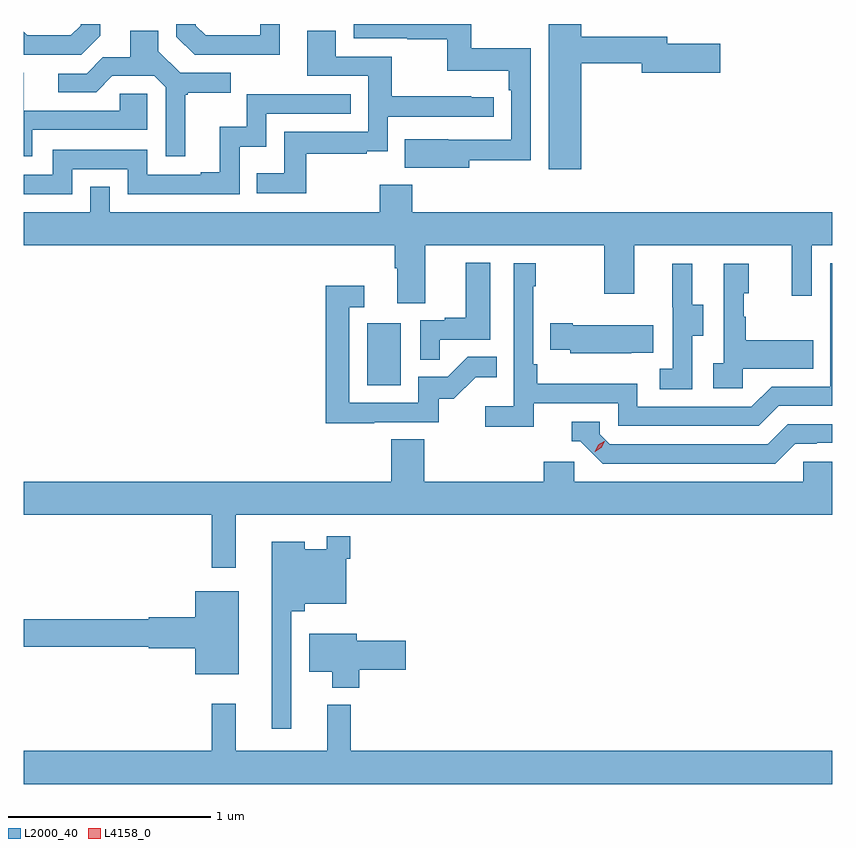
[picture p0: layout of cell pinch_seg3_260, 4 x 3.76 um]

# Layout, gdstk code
import gdstk
lib = gdstk.Library(unit=1e-6, precision=1e-09)
def R(c, l, rs):  # rectangles x0, y0, x1, y1
    for r in rs: c.add(gdstk.rectangle(r[:2], r[2:], *l))
def P(c, l, *ps):  # polygons
    for p in ps: c.add(gdstk.Polygon(p, *l))
L2000_40 = (2000, 40)
L4158_0 = (4158, 0)

pinch_seg3_260 = lib.new_cell('pinch_seg3_260')
R(pinch_seg3_260, L2000_40, [(902.36,725.532,902.524,725.839)])
P(pinch_seg3_260, L2000_40, [(903.418,727.126),(903.716,727.126),(903.716,727.079),(904.105,727.079),(904.105,727.221),(903.844,727.221),(903.844,727.255),(903.418,727.255),(903.418,727.319),(903.257,727.319),(903.257,726.6),(903.418,726.6)],
  [(902.863,726.646),(903.168,726.646),(903.168,727.198),(902.875,727.198),(902.875,727.319),(902.292,727.319),(902.292,727.248),(902.557,727.248),(902.557,727.243),(902.754,727.243),(902.754,727.088),(903.059,727.088),(903.059,726.992),(903.072,726.992),(903.072,726.747),(902.759,726.747),(902.759,726.748),(902.545,726.748),(902.545,726.608),(902.863,726.608)],
  [(901.927,727.319),(901.83,727.319),(901.83,727.263),(901.56,727.263),(901.512,727.311),(901.512,727.319),(901.416,727.319),(901.416,727.257),(901.506,727.167),(901.722,727.167),(901.722,727.166),(901.927,727.166)],
  [(901.039,727.261),(901.039,727.319),(900.942,727.319),(900.942,727.311),(900.894,727.263),(900.678,727.263),(900.66,727.281),(900.66,727.167),(900.945,727.167)],
  [(902.059,726.678),(902.357,726.678),(902.357,726.689),(902.46,726.689),(902.46,726.861),(902.986,726.861),(902.986,726.957),(902.873,726.957),(902.873,726.962),(902.48,726.962),(902.48,727.158),(902.203,727.158),(902.203,727.286),(902.063,727.286),(902.063,727.062),(902.364,727.062),(902.364,726.786),(901.948,726.786),(901.948,726.58),(901.813,726.58),(901.813,726.483),(902.059,726.483)],
  [(901.459,726.969),(901.471,726.969),(901.471,726.98),(901.684,726.98),(901.684,727.077),(901.434,727.077),(901.327,727.184),(901.327,727.286),(901.187,727.286),(901.187,727.154),(901.052,727.154),(900.972,727.074),(900.831,727.074),(900.831,726.981),(901.018,726.981),(901.099,727.062),(901.305,727.062),(901.362,727.005),(901.362,726.666),(901.459,726.666)],
  [(900.703,726.795),(901.272,726.795),(901.272,726.975),(901.135,726.975),(901.135,726.891),(900.661,726.891),(900.661,727.077),(900.66,727.077),(900.66,726.666),(900.703,726.666)],
  [(900.9,726.6),(901.176,726.6),(901.176,726.477),(901.728,726.477),(901.728,726.713),(901.86,726.713),(901.86,726.876),(902.279,726.876),(902.279,726.972),(901.764,726.972),(901.764,726.811),(901.631,726.811),(901.631,726.586),(901.535,726.586),(901.535,726.573),(901.272,726.573),(901.272,726.696),(900.804,726.696),(900.804,726.573),(900.66,726.573),(900.66,726.477),(900.9,726.477)],
  [(902.647,726.224),(903.532,726.224),(903.532,725.985),(903.679,725.985),(903.679,726.224),(904.46,726.224),(904.46,725.976),(904.557,725.976),(904.557,726.224),(904.66,726.224),(904.66,726.388),(902.582,726.388),(902.582,726.523),(902.422,726.523),(902.422,726.388),(901.086,726.388),(901.086,726.515),(900.99,726.515),(900.99,726.388),(900.66,726.388),(900.66,726.224),(902.495,726.224),(902.495,726.112),(902.507,726.112),(902.507,725.938),(902.647,725.938)],
  [(902.717,725.757),(902.968,725.757),(902.968,726.139),(902.846,726.139),(902.846,725.866),(902.743,725.866),(902.743,725.853),(902.622,725.853),(902.622,725.659),(902.717,725.659)],
  [(903.182,725.442),(903.6,725.442),(903.6,725.331),(904.297,725.331),(904.396,725.43),(904.66,725.43),(904.66,726.135),(904.65,726.135),(904.65,725.526),(904.359,725.526),(904.26,725.427),(903.696,725.427),(903.696,725.539),(903.2,725.539),(903.2,725.635),(903.18,725.635),(903.18,726.023),(903.193,726.023),(903.193,726.136),(903.084,726.136),(903.084,725.428),(902.943,725.428),(902.943,725.326),(903.182,725.326)],
  [(903.966,725.776),(904.021,725.776),(904.021,725.931),(903.967,725.931),(903.967,726.133),(903.869,726.133),(903.869,725.919),(903.87,725.919),(903.87,725.615),(903.807,725.615),(903.807,725.512),(903.966,725.512)],
  [(904.218,725.615),(904.565,725.615),(904.565,725.755),(904.231,725.755),(904.231,725.87),(904.221,725.87),(904.221,725.988),(904.246,725.988),(904.246,726.133),(904.122,726.133),(904.122,725.642),(904.071,725.642),(904.071,725.517),(904.218,725.517)],
  [(902.393,725.349),(902.712,725.349),(902.712,725.466),(902.788,725.466),(902.895,725.573),(902.999,725.573),(902.999,725.672),(902.856,725.672),(902.758,725.574),(902.613,725.574),(902.613,725.445),(902.271,725.445),(902.271,725.919),(902.344,725.919),(902.344,726.025),(902.155,726.025),(902.155,725.344),(902.393,725.344)],
  [(903.665,725.693),(903.773,725.693),(903.773,725.83),(903.376,725.83),(903.376,725.838),(903.265,725.838),(903.265,725.708),(903.363,725.708),(903.363,725.69),(903.665,725.69)],
  [(904.477,725.244),(904.584,725.244),(904.584,725.247),(904.66,725.247),(904.66,725.34),(904.44,725.34),(904.341,725.241),(903.558,725.241),(903.51,725.289),(903.51,725.352),(903.371,725.352),(903.371,725.256),(903.414,725.256),(903.525,725.145),(904.378,725.145)],
  [(901.708,724.892),(904.66,724.892),(904.66,725.154),(904.515,725.154),(904.515,725.056),(903.384,725.056),(903.384,725.154),(903.233,725.154),(903.233,725.056),(902.642,725.056),(902.642,725.264),(902.477,725.264),(902.477,725.056),(900.66,725.056),(900.66,724.892),(901.591,724.892),(901.591,724.629),(901.708,724.629)],
  [(901.983,724.415),(902.05,724.415),(902.05,724.451),(902.256,724.451),(902.256,724.673),(902.276,724.673),(902.276,724.786),(902.16,724.786),(902.16,724.72),(902.05,724.72),(902.05,724.759),(901.886,724.759),(901.886,723.834),(901.983,723.834)],
  [(901.723,724.513),(901.508,724.513),(901.508,724.384),(901.278,724.384),(901.278,724.376),(900.66,724.376),(900.66,724.24),(901.278,724.24),(901.278,724.232),(901.508,724.232),(901.508,724.103),(901.723,724.103)],
  [(902.321,724.126),(902.551,724.126),(902.551,724.268),(902.308,724.268),(902.308,724.303),(902.072,724.303),(902.072,724.115),(902.186,724.115),(902.186,724.037),(902.321,724.037)],
  [(904.66,723.724),(902.279,723.724),(902.279,723.952),(902.162,723.952),(902.162,723.724),(901.709,723.724),(901.709,723.958),(901.591,723.958),(901.591,723.724),(900.66,723.724),(900.66,723.56),(904.66,723.56)])
P(pinch_seg3_260, L4158_0, [(903.485,725.204),(903.485,725.204),(903.502,725.237),(903.532,725.256),(903.533,725.256),(903.533,725.256),(903.516,725.224),(903.486,725.204)])

lib.write_gds('pinch_seg3_260.gds')
